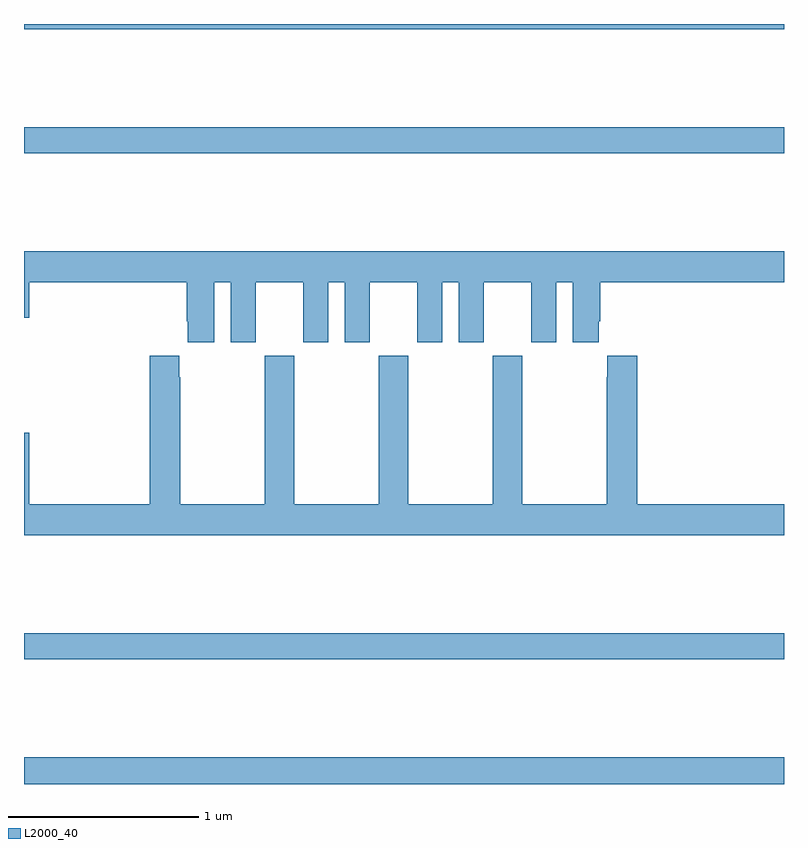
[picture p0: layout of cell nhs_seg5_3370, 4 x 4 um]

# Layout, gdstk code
import gdstk
lib = gdstk.Library(unit=1e-6, precision=1e-09)
def R(c, l, rs):  # rectangles x0, y0, x1, y1
    for r in rs: c.add(gdstk.rectangle(r[:2], r[2:], *l))
def P(c, l, *ps):  # polygons
    for p in ps: c.add(gdstk.Polygon(p, *l))
L2000_40 = (2000, 40)

nhs_seg5_3370 = lib.new_cell('nhs_seg5_3370')
R(nhs_seg5_3370, L2000_40, [(309,840.799,313,840.94), (309,841.456,313,841.592), (309,844.12,313,844.256), (309,844.772,313,844.799)])
P(nhs_seg5_3370, L2000_40, [(310,843.44),(310.088,843.44),(310.088,843.123),(310.219,843.123),(310.219,843.44),(310.469,843.44),(310.469,843.123),(310.6,843.123),(310.6,843.44),(310.688,843.44),(310.688,843.123),(310.819,843.123),(310.819,843.44),(311.069,843.44),(311.069,843.123),(311.2,843.123),(311.2,843.44),(311.288,843.44),(311.288,843.123),(311.419,843.123),(311.419,843.44),(311.669,843.44),(311.669,843.123),(311.8,843.123),(311.8,843.44),(311.888,843.44),(311.888,843.123),(312.025,843.123),(312.025,843.235),(312.032,843.235),(312.032,843.44),(313,843.44),(313,843.604),(309,843.604),(309,843.252),(309.028,843.252),(309.028,843.44),(309.857,843.44),(309.857,843.235),(309.863,843.235),(309.863,843.123),(310,843.123)],
  [(313,842.272),(312.227,842.272),(312.227,843.052),(312.071,843.052),(312.071,842.939),(312.067,842.939),(312.067,842.272),(311.622,842.272),(311.622,843.052),(311.467,843.052),(311.467,842.272),(311.022,842.272),(311.022,843.052),(310.867,843.052),(310.867,842.272),(310.422,842.272),(310.422,843.052),(310.267,843.052),(310.267,842.272),(309.822,842.272),(309.822,842.939),(309.817,842.939),(309.817,843.052),(309.662,843.052),(309.662,842.272),(309.028,842.272),(309.028,842.647),(309,842.647),(309,842.108),(313,842.108)])

lib.write_gds('nhs_seg5_3370.gds')
